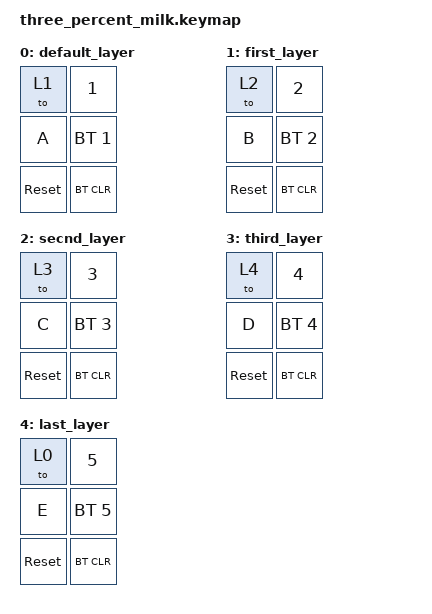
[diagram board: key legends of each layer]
/*
 * Copyright (c) 2022 The ZMK Contributors
 *
 * SPDX-License-Identifier: MIT
 */

#include <behaviors.dtsi>
#include <dt-bindings/zmk/keys.h>
#include <dt-bindings/zmk/bt.h>

#define DEFAULT 0

/ {
    keymap {
        compatible = "zmk,keymap";
 
        default_layer {
            bindings = <
                &to 1       &kp N1
                &kp A       &bt BT_SEL 1
                &sys_reset  &bt BT_CLR
            >;
        };

        first_layer {
            bindings = <
                &to 2       &kp N2
                &kp B       &bt BT_SEL 2
                &sys_reset  &bt BT_CLR
            >;
        };

        secnd_layer {
            bindings = <
                &to 3       &kp N3
                &kp C       &bt BT_SEL 3
                &sys_reset  &bt BT_CLR
            >;
        };

        third_layer {
            bindings = <
                &to 4       &kp N4
                &kp D       &bt BT_SEL 4
                &sys_reset  &bt BT_CLR
            >;
        };

        last_layer {
            bindings = <
                &to 0       &kp N5
                &kp E       &bt BT_SEL 5
                &sys_reset  &bt BT_CLR
            >;
        };
    };
};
